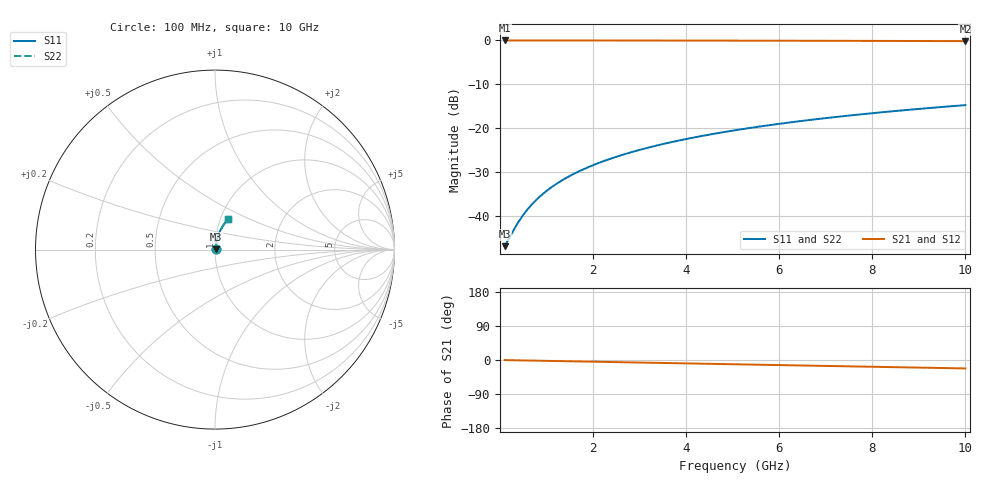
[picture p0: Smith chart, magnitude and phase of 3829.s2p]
# Hz S RI R 50.00
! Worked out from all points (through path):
!   100 points, 100 MHz to 10 GHz, reference 50 ohm
!   highest |S21| = -0.04 dB at 100 MHz (marker M1); lowest = -0.2 dB at 10 GHz (marker M2)
!   group delay of S21, straight-line fit = 6.18 ps
!   lowest |S11| = -46.8 dB at 100 MHz (marker M3), VSWR 1.01, Z = 50.4 + j0.19 ohm
!   |S11| at or under -10 dB: start of sweep to end of sweep
!   |S22| runs from -46.8 to -14.7 dB; largest |S21 - S12| = 0
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1e8  0.00419 0.00188  0.9958 -0.00389  0.9958 -0.00389  0.00419 0.00188
2e8  0.00423 0.00376  0.9958 -0.00779  0.9958 -0.00779  0.00423 0.00376
3e8  0.00429 0.00564  0.9957 -0.0117  0.9957 -0.0117  0.00429 0.00564
4e8  0.00436 0.00752  0.9956 -0.0156  0.9956 -0.0156  0.00436 0.00752
5e8  0.00444 0.0094  0.9955 -0.0195  0.9955 -0.0195  0.00444 0.0094
6e8  0.00453 0.0113  0.9954 -0.0234  0.9954 -0.0234  0.00453 0.0113
7e8  0.00464 0.0132  0.9953 -0.0273  0.9953 -0.0273  0.00464 0.0132
8e8  0.00476 0.015  0.9951 -0.0311  0.9951 -0.0311  0.00476 0.015
1e9  0.00504 0.0188  0.9947 -0.0389  0.9947 -0.0389  0.00504 0.0188
1.2e9  0.00538 0.0225  0.9943 -0.0467  0.9943 -0.0467  0.00538 0.0225
1.5e9  0.00599 0.0281  0.9935 -0.0583  0.9935 -0.0583  0.00599 0.0281
1.8e9  0.00673 0.0337  0.9926 -0.07  0.9926 -0.07  0.00673 0.0337
2.1e9  0.00761 0.0393  0.9915 -0.0816  0.9915 -0.0816  0.00761 0.0393
2.5e9  0.00897 0.0467  0.9897 -0.097  0.9897 -0.097  0.00897 0.0467
2.9e9  0.0106 0.054  0.9877 -0.1125  0.9877 -0.1125  0.0106 0.054
3.4e9  0.0129 0.0631  0.9847 -0.1316  0.9847 -0.1316  0.0129 0.0631
4.2e9  0.0173 0.0774  0.979 -0.1621  0.979 -0.1621  0.0173 0.0774
5.1e9  0.0233 0.0931  0.9713 -0.196  0.9713 -0.196  0.0233 0.0931
5.9e9  0.0296 0.1067  0.9632 -0.2257  0.9632 -0.2257  0.0296 0.1067
6.7e9  0.0366 0.1198  0.9541 -0.255  0.9541 -0.255  0.0366 0.1198
8.4e9  0.0541 0.1459  0.9312 -0.3157  0.9312 -0.3157  0.0541 0.1459
1e10  0.0735 0.1681  0.9056 -0.3704  0.9056 -0.3704  0.0735 0.1681
